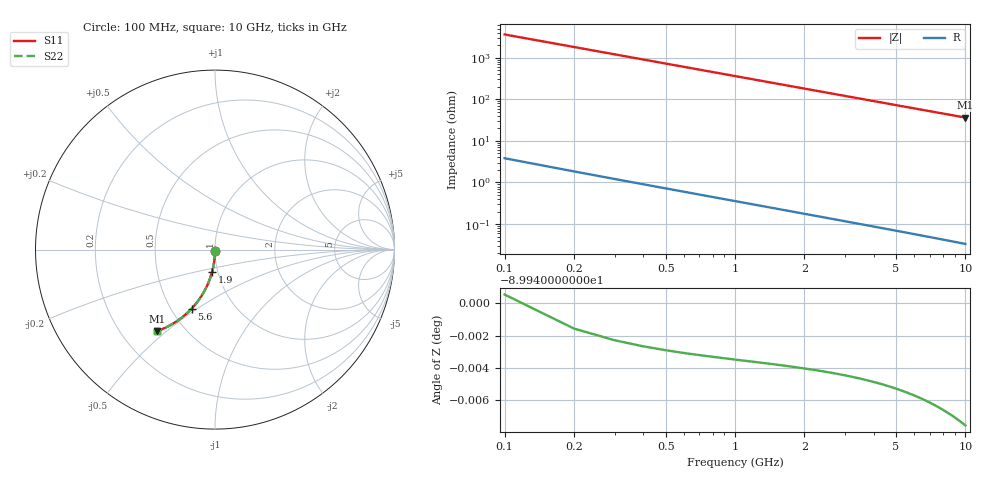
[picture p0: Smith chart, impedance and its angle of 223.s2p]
# Hz S RI R 50.00
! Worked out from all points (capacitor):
!   100 points, 100 MHz to 10 GHz, reference 50 ohm
!   read as one part in shunt: C = 440 fF near 100 MHz
!   lowest |Z| = 36.4 ohm at 10 GHz (marker M1)
!   S11 on the Smith chart (normalised r, x): 100 MHz: 1.00, -0.01; 1.9 GHz: 0.94, -0.24; 5.6 GHz: 0.63, -0.47; 10 GHz: 0.35, -0.46
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1e8  6.26e-05 -0.00677  0.9998 -0.00704  0.9998 -0.00704  6.26e-05 -0.00677
2e8  -8.64e-05 -0.0135  0.9997 -0.0141  0.9997 -0.0141  -8.64e-05 -0.0135
3e8  -0.000331 -0.0203  0.9994 -0.0211  0.9994 -0.0211  -0.000331 -0.0203
4e8  -0.00067 -0.0271  0.9991 -0.0281  0.9991 -0.0281  -0.00067 -0.0271
5e8  -0.0011 -0.0338  0.9987 -0.0352  0.9987 -0.0352  -0.0011 -0.0338
6e8  -0.00163 -0.0406  0.9981 -0.0422  0.9981 -0.0422  -0.00163 -0.0406
7e8  -0.00226 -0.0473  0.9975 -0.0492  0.9975 -0.0492  -0.00226 -0.0473
8e8  -0.00298 -0.054  0.9968 -0.0561  0.9968 -0.0561  -0.00298 -0.054
9e8  -0.00379 -0.0607  0.996 -0.0631  0.996 -0.0631  -0.00379 -0.0607
1.1e9  -0.00569 -0.074  0.9941 -0.077  0.9941 -0.077  -0.00569 -0.074
1.4e9  -0.00923 -0.0939  0.9905 -0.0977  0.9905 -0.0977  -0.00923 -0.0939
1.8e9  -0.0152 -0.12  0.9845 -0.1248  0.9845 -0.1248  -0.0152 -0.12
1.9e9  -0.0169 -0.1264  0.9828 -0.1315  0.9828 -0.1315  -0.0169 -0.1264
2.2e9  -0.0226 -0.1455  0.9772 -0.1514  0.9772 -0.1514  -0.0226 -0.1455
2.6e9  -0.0313 -0.1704  0.9685 -0.1774  0.9685 -0.1774  -0.0313 -0.1704
3.4e9  -0.0523 -0.218  0.9474 -0.2271  0.9474 -0.2271  -0.0523 -0.218
4.2e9  -0.0778 -0.2619  0.9219 -0.2732  0.9219 -0.2732  -0.0778 -0.2619
5.1e9  -0.1106 -0.3065  0.889 -0.3202  0.889 -0.3202  -0.1106 -0.3065
5.6e9  -0.1304 -0.329  0.8692 -0.344  0.8692 -0.344  -0.1304 -0.329
6.7e9  -0.1769 -0.3722  0.8227 -0.3902  0.8227 -0.3902  -0.1769 -0.3722
8.4e9  -0.2527 -0.4229  0.7467 -0.4455  0.7467 -0.4455  -0.2527 -0.4229
1e10  -0.3244 -0.4543  0.675 -0.4812  0.675 -0.4812  -0.3244 -0.4543
